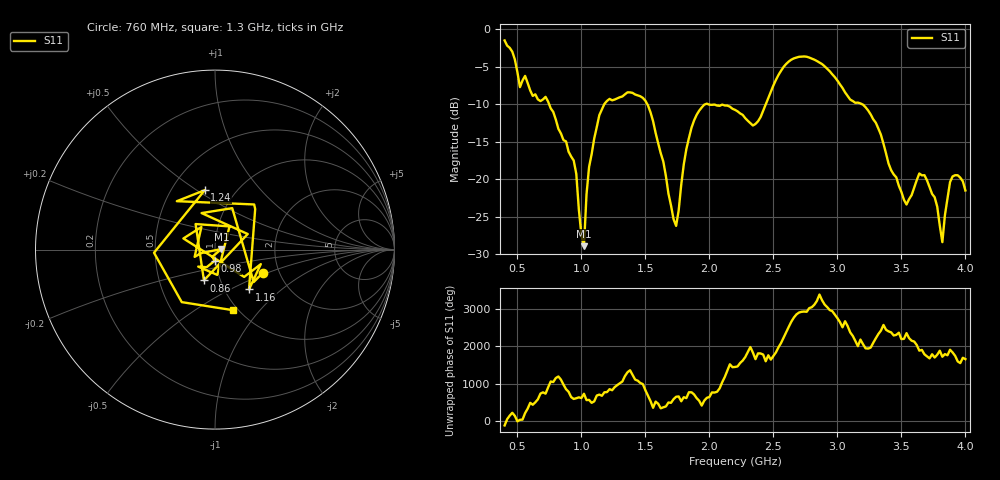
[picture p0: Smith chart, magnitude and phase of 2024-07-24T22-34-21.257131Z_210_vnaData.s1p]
!Created with skrf (http://scikit-rf.org).
# Hz S RI R 50.0
!freq ReS11 ImS11
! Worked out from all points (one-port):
!   181 points, 400 MHz to 4 GHz, reference 50 ohm
!   lowest |S11| = -28.9 dB at 1.02 GHz (marker M1), VSWR 1.07, Z = 53.7 + j0.342 ohm
!   |S11| at or under -10 dB: 1.515 GHz to 1.967 GHz (452.3 MHz wide, 26 % of centre); 1.991 GHz to 2.44 GHz (448.3 MHz wide, 20.2 % of centre); 3.194 GHz to end of sweep (the widest 3 of 4)
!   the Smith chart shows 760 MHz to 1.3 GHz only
!   S11 on the Smith chart (normalised r, x): 760 MHz: 1.65, -0.46; 860 MHz: 0.84, -0.30; 980 MHz: 0.99, -0.12; 1.16 GHz: 1.29, -0.63; 1.24 GHz: 0.72, +0.54; 1.3 GHz: 0.95, -0.73
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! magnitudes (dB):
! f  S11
! 400 MHz  -1.5
! 520 MHz  -7.7
! 760 MHz  -10.5
! 860 MHz  -14.8
! 940 MHz  -17.5
! 980 MHz  -24.0
! 1.02 GHz  -28.9
! 1.06 GHz  -18.4
! 1.16 GHz  -10.7
! 1.24 GHz  -9.5
! 1.3 GHz  -9.1
! 1.52 GHz  -10.2
! 1.72 GHz  -25.3
! 1.76 GHz  -24.2
! 1.82 GHz  -16.0
! 1.9 GHz  -11.4
! 2.2 GHz  -10.7
! 2.36 GHz  -12.6
! 2.66 GHz  -3.9
! 2.88 GHz  -4.6
! 3.1 GHz  -9.4
! 3.3 GHz  -12.5
! 3.56 GHz  -22.7
! 3.68 GHz  -19.5
! 3.78 GHz  -23.7
! 3.82 GHz  -28.4
! 3.88 GHz  -20.4
! 4 GHz  -21.5
